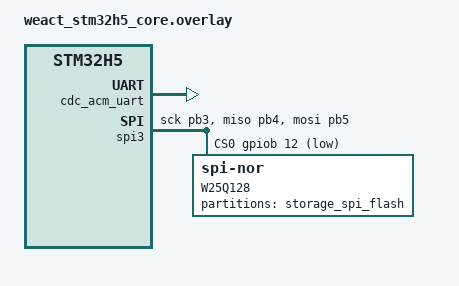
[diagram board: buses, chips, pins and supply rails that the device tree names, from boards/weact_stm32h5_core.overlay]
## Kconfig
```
# Flash non-volatile storage demo configuration

mainmenu "Eurus Flight Controller - Flash demo"

source "Kconfig.zephyr"
```

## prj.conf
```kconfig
# 
# This file is part of the efc project <https://github.com/eurus-project/efc/>.
# Copyright (c) 2024 The efc developers.
# 
# This program is free software: you can redistribute it and/or modify
# it under the terms of the GNU General Public License as published by
# the Free Software Foundation, version 3.
# 
# This program is distributed in the hope that it will be useful, but
# WITHOUT ANY WARRANTY; without even the implied warranty of
# MERCHANTABILITY or FITNESS FOR A PARTICULAR PURPOSE. See the GNU
# General Public License for more details.
# 
# You should have received a copy of the GNU General Public License
# along with this program. If not, see <http://www.gnu.org/licenses/>.
#

CONFIG_GPIO=y
CONFIG_SERIAL=y
CONFIG_CONSOLE=y
CONFIG_USB_DEVICE_STACK=y

CONFIG_DEBUG=y

CONFIG_STM32_FLASH_PREFETCH=y
CONFIG_FPU=y
CONFIG_SPI=y
CONFIG_SPI_STM32=y

CONFIG_MAIN_STACK_SIZE=4096

CONFIG_LOG=y
CONFIG_DEBUG_COREDUMP=y
CONFIG_DEBUG_COREDUMP_BACKEND_LOGGING=y

CONFIG_CBPRINTF_FP_SUPPORT=y

CONFIG_INPUT=y

CONFIG_SHELL=y
CONFIG_SHELL_LOG_BACKEND=y

# Optionally force the file system to be recreated
# CONFIG_APP_WIPE_STORAGE=y

# fs_dirent structures are big.
CONFIG_MAIN_STACK_SIZE=4096

CONFIG_LOG_MODE_MINIMAL=y

CONFIG_FLASH=y
CONFIG_FLASH_MAP=y

CONFIG_FILE_SYSTEM=y
CONFIG_FILE_SYSTEM_LITTLEFS=y
```

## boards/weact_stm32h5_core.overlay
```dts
/*
 * This file is part of the efc project <https://github.com/eurus-project/efc/>.
 * Copyright (c) 2024 The efc developers.
 *
 * This program is free software: you can redistribute it and/or modify
 * it under the terms of the GNU General Public License as published by
 * the Free Software Foundation, version 3.
 *
 * This program is distributed in the hope that it will be useful, but
 * WITHOUT ANY WARRANTY; without even the implied warranty of
 * MERCHANTABILITY or FITNESS FOR A PARTICULAR PURPOSE. See the GNU
 * General Public License for more details.
 *
 * You should have received a copy of the GNU General Public License
 * along with this program. If not, see <http://www.gnu.org/licenses/>.
 */


/ {
	chosen {
		zephyr,console = &cdc_acm_uart;
        zephyr,shell-uart = &cdc_acm_uart;
	};
};

&pll {
	div-q = <6>;
};

&clk_hsi48 {
    status = "okay";
};

&zephyr_udc0 {
	cdc_acm_uart: cdc_acm_uart0 {
		compatible = "zephyr,cdc-acm-uart";
	};
};

/*
&spi2 {
    status = "okay";
    pinctrl-0 = <&spi2_sck_pb10 &spi2_miso_pc2 &spi2_mosi_pc1>;
    pinctrl-names = "default";
    cs-gpios = <&gpioa 15 (GPIO_ACTIVE_LOW | GPIO_PULL_UP)>;

    bme280@0 {
        compatible = "bosch,bme280";
        reg = <0>;
        spi-max-frequency = <1000000>;
    };
};
*/

&spi3 {
    status = "okay";
    pinctrl-0 = <&spi3_sck_pb3 &spi3_miso_pb4 &spi3_mosi_pb5>;
    pinctrl-names = "default";
    cs-gpios = <&gpiob 12 (GPIO_ACTIVE_LOW | GPIO_PULL_UP)>;

    spiflash: spiflash@0 {
        compatible = "jedec,spi-nor";
        status = "okay";
        reg = <0>;
        label = "W25Q128";
        spi-max-frequency = <1000000U>;
        jedec-id = [ef 40 18];
        size = <0x1000000>;
        /* Optionally, set the deep power down mode */
        // has-dpd;
        // t-enter-dpd = <10000>;
        // t-exit-dpd = <35000>;
    };
};

&spiflash {
    partitions {
        compatible = "fixed-partitions";
        #address-cells = <1>;
        #size-cells = <1>;

        lfs_partition: partition@0 {
            label = "storage_spi_flash";
            reg = <0x00000000 0x01000000>;  // 16MB
        };
    };
};
```

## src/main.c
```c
/*
 * This file is part of the efc project <https://github.com/eurus-project/efc/>.
 * Copyright (c) 2024 - 2025 The efc developers.
 *
 * This program is free software: you can redistribute it and/or modify
 * it under the terms of the GNU General Public License as published by
 * the Free Software Foundation, version 3.
 *
 * This program is distributed in the hope that it will be useful, but
 * WITHOUT ANY WARRANTY; without even the implied warranty of
 * MERCHANTABILITY or FITNESS FOR A PARTICULAR PURPOSE. See the GNU
 * General Public License for more details.
 *
 * You should have received a copy of the GNU General Public License
 * along with this program. If not, see <http://www.gnu.org/licenses/>.
 */

#include <math.h>
#include <stdio.h>
#include <zephyr/device.h>
#include <zephyr/drivers/gpio.h>
#include <zephyr/fs/fs.h>
#include <zephyr/fs/littlefs.h>
#include <zephyr/kernel.h>
#include <zephyr/logging/log.h>
#include <zephyr/usb/usb_device.h>
#include <zephyr/usb/usbd.h>

LOG_MODULE_REGISTER(main, LOG_LEVEL_INF);

// This LED simply blinks at an interval, indicating visually that the firmware
// is running If anything causes the whole firmware to abort, it will be
// apparent without looking at log output or hooking up a debugger.
static const struct gpio_dt_spec fw_running_led =
    GPIO_DT_SPEC_GET(DT_ALIAS(led0), gpios);

static struct fs_littlefs main_fs;

struct fs_mount_t main_fs_mount = {
    .type = FS_LITTLEFS,
    .fs_data = &main_fs,
    // .flags = FS_MOUNT_FLAG_USE_DISK_ACCESS,
    .storage_dev = (void *)FIXED_PARTITION_ID(lfs_partition),
    .mnt_point = "/SPI_FLASH:",
};

int32_t boot_count = -1;

#if defined(CONFIG_USB_DEVICE_STACK_NEXT)
static struct usbd_context *sample_usbd;

static int enable_usb_device_next(void) {
    int err;

    sample_usbd = sample_usbd_init_device(NULL);
    if (sample_usbd == NULL) {
        return -ENODEV;
    }

    err = usbd_enable(sample_usbd);
    if (err) {
        return err;
    }

    return 0;
}
#endif /* defined(CONFIG_USB_DEVICE_STACK_NEXT) */

static int update_boot_count(void) {
    struct fs_file_t boot_count_file;
    fs_file_t_init(&boot_count_file);

    char filename[LFS_NAME_MAX];
    snprintf(filename, sizeof(filename), "%s/boot_count",
             main_fs_mount.mnt_point);
    int ret = fs_open(&boot_count_file, filename, FS_O_RDWR | FS_O_CREATE);
    if (ret < 0) {
        LOG_ERR("Could not open file!\n");
        return ret;
    }

    ret = fs_read(&boot_count_file, &boot_count, sizeof(boot_count));
    if (ret < 0) {
        LOG_ERR("Could not read from file!\n");
        return ret;
    }

    LOG_INF("Boot count: %d\n", (int)boot_count);

    ret = fs_seek(&boot_count_file, 0, FS_SEEK_SET);
    if (ret < 0) {
        LOG_ERR("Could not seek to beggining of the file!\n");
        return ret;
    }

    boot_count += 1;
    ret = fs_write(&boot_count_file, &boot_count, sizeof(boot_count));
    if (ret < 0) {
        LOG_ERR("Could not write to file!\n");
        return ret;
    }

    ret = fs_close(&boot_count_file);
    if (ret < 0) {
        LOG_ERR("Could not close file!\n");
        return ret;
    }

    return 0;
}

static int create_demo_file(void) {
    struct fs_file_t demo_file;
    const char demo_data[] = "This is a demo test message from EFC";

    fs_file_t_init(&demo_file);

    char filename[LFS_NAME_MAX];
    snprintf(filename, sizeof(filename), "%s/demo_file.txt",
             main_fs_mount.mnt_point);

    int ret = fs_open(&demo_file, filename, FS_O_RDWR | FS_O_CREATE);
    if (ret < 0) {
        LOG_ERR("Could not open file!\n");
        return ret;
    }

    ret = fs_write(&demo_file, &demo_data, sizeof(demo_data));
    if (ret < 0) {
        LOG_ERR("Could not write to file!\n");
        return ret;
    }

    ret = fs_close(&demo_file);
    if (ret < 0) {
        LOG_ERR("Could not close file!\n");
        return ret;
    }

    return 0;
}

int main(void) {
    if (DT_NODE_HAS_COMPAT(DT_CHOSEN(zephyr_console), zephyr_cdc_acm_uart)) {
#if defined(CONFIG_USB_DEVICE_STACK_NEXT)
        if (enable_usb_device_next()) {
            return 0;
        }
#else
        if (usb_enable(NULL)) {
            return 0;
        }
#endif
    }

    if (!gpio_is_ready_dt(&fw_running_led)) {
        LOG_ERR("The firmware running LED is not ready");
        return 0;
    }

    int ret;
    ret = gpio_pin_configure_dt(&fw_running_led, GPIO_OUTPUT_ACTIVE);
    if (ret < 0) {
        LOG_ERR("Could not configure the firmware running LED as output");
        return 0;
    }

    const struct device *flash_dev = DEVICE_DT_GET(DT_NODELABEL(spiflash));
    if (!device_is_ready(flash_dev)) {
        LOG_ERR("SPI flash device not ready");
        return;
    }

    ret = fs_mount(&main_fs_mount);
    if (ret < 0) {
        LOG_ERR("Could not mount filesystem!\n");
    }

    ret = update_boot_count();
    if (ret < 0) {
        LOG_ERR("Could not update boot count!");
    }

    ret = create_demo_file();
    if (ret < 0) {
        LOG_ERR("Could not create demo file!");
    }

    while (1) {
        ret = gpio_pin_toggle_dt(&fw_running_led);
        if (ret < 0) {
            LOG_ERR("Could not toggle the firmware running LED");
            return 0;
        }

        k_msleep(1000);
    }

    return 0;
}
```
